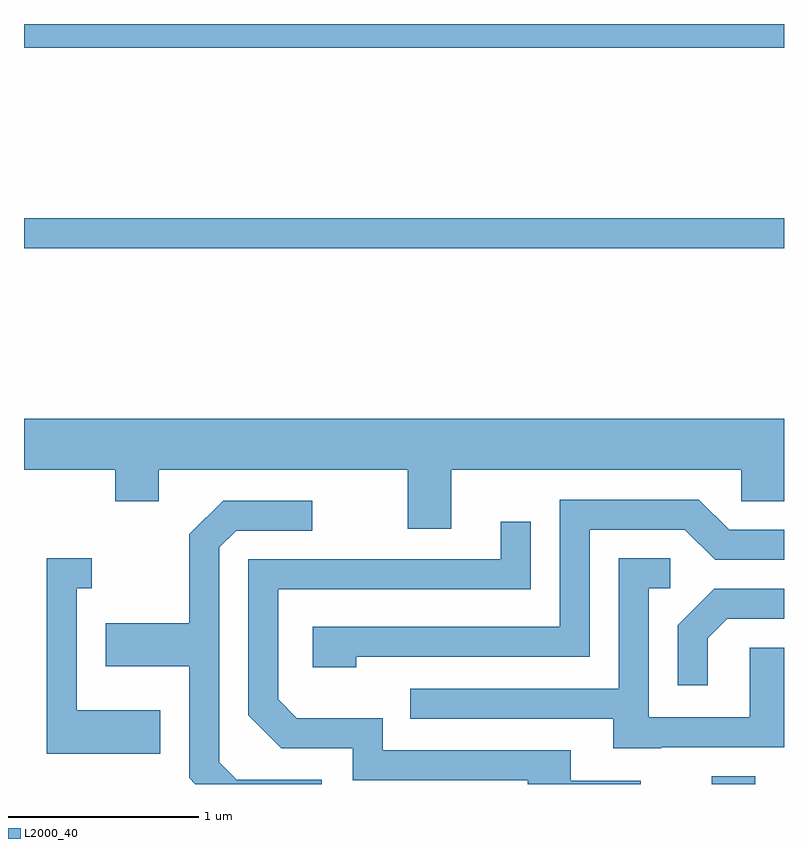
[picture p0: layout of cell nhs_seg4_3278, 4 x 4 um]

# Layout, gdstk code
import gdstk
lib = gdstk.Library(unit=1e-6, precision=1e-09)
def R(c, l, rs):  # rectangles x0, y0, x1, y1
    for r in rs: c.add(gdstk.rectangle(r[:2], r[2:], *l))
def P(c, l, *ps):  # polygons
    for p in ps: c.add(gdstk.Polygon(p, *l))
L2000_40 = (2000, 40)

nhs_seg4_3278 = lib.new_cell('nhs_seg4_3278')
R(nhs_seg4_3278, L2000_40, [(285.231,1281.982,285.459,1282.024), (281.611,1284.801,285.611,1284.959), (281.611,1285.856,285.611,1285.982)])
P(nhs_seg4_3278, L2000_40, [(283.859,1283.636),(285.386,1283.636),(285.386,1283.471),(285.611,1283.471),(285.611,1283.904),(281.611,1283.904),(281.611,1283.636),(282.091,1283.636),(282.091,1283.471),(282.319,1283.471),(282.319,1283.636),(283.631,1283.636),(283.631,1283.326),(283.859,1283.326)],
  [(283.359,1282.651),(284.589,1282.651),(284.589,1283.321),(285.089,1283.321),(285.249,1283.161),(285.611,1283.161),(285.611,1283.319),(285.322,1283.319),(285.162,1283.479),(284.431,1283.479),(284.431,1282.809),(283.131,1282.809),(283.131,1282.596),(283.359,1282.596)],
  [(283.178,1282.004),(282.732,1282.004),(282.639,1282.097),(282.639,1283.229),(282.727,1283.316),(283.128,1283.316),(283.128,1283.474),(282.659,1283.474),(282.481,1283.297),(282.481,1282.829),(282.041,1282.829),(282.041,1282.601),(282.481,1282.601),(282.481,1282.014),(282.513,1281.982),(283.178,1281.982)],
  [(284.858,1281.999),(284.489,1281.999),(284.489,1282.159),(283.499,1282.159),(283.499,1282.329),(283.047,1282.329),(282.949,1282.427),(282.949,1283.006),(284.279,1283.006),(284.279,1283.363),(284.121,1283.363),(284.121,1283.164),(282.791,1283.164),(282.791,1282.344),(282.964,1282.171),(283.341,1282.171),(283.341,1282.001),(284.261,1282.001),(284.261,1281.982),(284.858,1281.982)],
  [(284.965,1282.176),(285.611,1282.176),(285.611,1282.699),(285.431,1282.699),(285.431,1282.334),(284.899,1282.334),(284.899,1283.011),(285.013,1283.011),(285.013,1283.169),(284.741,1283.169),(284.741,1282.484),(283.643,1282.484),(283.643,1282.326),(284.711,1282.326),(284.711,1282.171),(284.965,1282.171)],
  [(282.329,1282.369),(281.889,1282.369),(281.889,1283.011),(281.968,1283.011),(281.968,1283.169),(281.731,1283.169),(281.731,1282.141),(282.329,1282.141)],
  [(285.209,1282.749),(285.312,1282.851),(285.611,1282.851),(285.611,1283.009),(285.244,1283.009),(285.051,1282.817),(285.051,1282.503),(285.209,1282.503)])

lib.write_gds('nhs_seg4_3278.gds')
